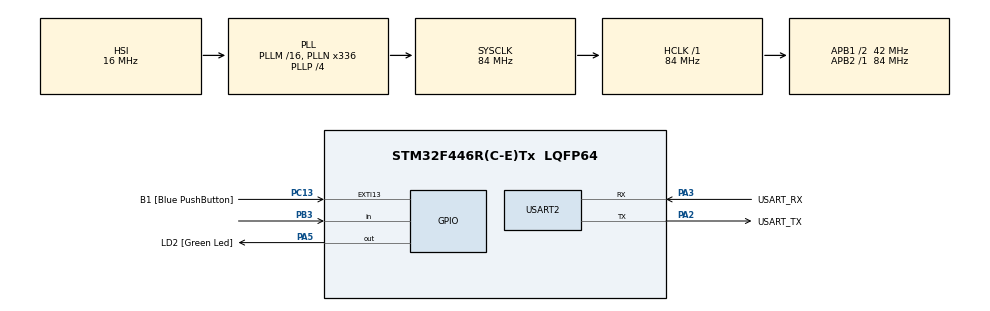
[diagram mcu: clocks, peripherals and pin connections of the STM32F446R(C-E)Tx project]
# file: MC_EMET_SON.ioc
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Mcu.Family=STM32F4
Mcu.Name=STM32F446R(C-E)Tx
Mcu.Package=LQFP64
NVIC.PriorityGroup=NVIC_PRIORITYGROUP_0
PA13.GPIO_Label=TMS
PA13.Signal=SYS_JTMS-SWDIO
PA14.GPIO_Label=TCK
PA14.Signal=SYS_JTCK-SWCLK
PA2.GPIO_Label=USART_TX
PA2.Mode=Asynchronous
PA2.Signal=USART2_TX
PA3.GPIO_Label=USART_RX
PA3.Mode=Asynchronous
PA3.Signal=USART2_RX
PA5.GPIO_Label=LD2 [Green Led]
PA5.Signal=GPIO_Output
PB3.Signal=GPIO_Input
PC13.GPIO_Label=B1 [Blue PushButton]
PC13.GPIO_ModeDefaultEXTI=GPIO_MODE_IT_FALLING
PC13.Signal=GPXTI13
PC14-OSC32_IN.Signal=RCC_OSC32_IN
PC15-OSC32_OUT.Signal=RCC_OSC32_OUT
PH0-OSC_IN.Signal=RCC_OSC_IN
PH1-OSC_OUT.Signal=RCC_OSC_OUT
ProjectManager.HeapSize=0x200
ProjectManager.StackSize=0x400
ProjectManager.TargetToolchain=STM32CubeIDE
RCC.AHBFreq_Value=84000000
RCC.APB1CLKDivider=RCC_HCLK_DIV2
RCC.APB1Freq_Value=42000000
RCC.APB1TimFreq_Value=84000000
RCC.APB2Freq_Value=84000000
RCC.APB2TimFreq_Value=84000000
RCC.CortexFreq_Value=84000000
RCC.FLatency-AdvancedSettings=FLASH_LATENCY_2
RCC.HCLKFreq_Value=84000000
RCC.HSE_VALUE=8000000
RCC.HSI_VALUE=16000000
RCC.LSE_VALUE=32768
RCC.PLLN=336
RCC.PLLP=RCC_PLLP_DIV4
RCC.SYSCLKFreq_VALUE=84000000
RCC.SYSCLKSource=RCC_SYSCLKSOURCE_PLLCLK
RCC.USBFreq_Value=168000000
RCC.VCOOutputFreq_Value=336000000
USART2.VirtualMode=VM_ASYNC
board=NUCLEO-F446RE

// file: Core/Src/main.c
/* USER CODE BEGIN Header */
/**
  ******************************************************************************
  * @file           : main.c
  * @brief          : Main program body
  ******************************************************************************
  */
/* USER CODE END Header */

#include "main.h"

/* USER CODE BEGIN Includes */
#include <string.h>
#include <ctype.h>
/* USER CODE END Includes */

UART_HandleTypeDef huart2;

/* USER CODE BEGIN PV */

char tabAlphabet[36] = {
    'a','b','c','d','e','f','g','h','i','j',
    'k','l','m','n','o','p','q','r','s','t',
    'u','v','w','x','y','z','0','1','2','3',
    '4','5','6','7','8','9'
};

const char *codeMorse[36] = {
    "01", "1000", "1010", "100", "0", "0010", "110", "0000", "00", "0111",
    "101", "0100", "11", "10", "111", "0110", "1101", "010", "000", "1",
    "001", "0001", "011", "1001", "1011", "1100", "11111", "01111", "00111",
    "00011", "00001", "00000", "10000", "11000", "11100", "11110"
};

#define UNIT 200

/* USER CODE END PV */

void SystemClock_Config(void);
static void MX_GPIO_Init(void);
static void MX_USART2_UART_Init(void);

/* USER CODE BEGIN PFP */
int recherche_morse(char a);
void UART_SendString(char *str);
void buzzer_on(void);
void buzzer_off(void);
void emettre_symbole(char symbole);
void emettre_lettre(char lettre);
/* USER CODE END PFP */

int main(void)
{
  HAL_Init();
  SystemClock_Config();
  MX_GPIO_Init();
  MX_USART2_UART_Init();

  /* USER CODE BEGIN 2 */
  char c;
  UART_SendString("Tape un texte dans PuTTY :\r\n");
  /* USER CODE END 2 */

  while (1)
  {
    /* USER CODE BEGIN 3 */

    HAL_UART_Receive(&huart2, (uint8_t*)&c, 1, HAL_MAX_DELAY);
    HAL_UART_Transmit(&huart2, (uint8_t*)&c, 1, HAL_MAX_DELAY);

    if (c == '\r' || c == '\n') {
        UART_SendString("\r\n");
        HAL_Delay(7 * UNIT);
        continue;
    }

    if (c == ' ') {
        HAL_Delay(7 * UNIT);
        continue;
    }

    c = (char)tolower((unsigned char)c);
    emettre_lettre(c);

    /* USER CODE END 3 */
  }
}

/* USER CODE BEGIN 4 */

int recherche_morse(char a)
{
    for (int i = 0; i < 36; i++) {
        if (tabAlphabet[i] == a) {
            return i;
        }
    }
    return -1;
}

void UART_SendString(char *str)
{
    HAL_UART_Transmit(&huart2, (uint8_t*)str, strlen(str), HAL_MAX_DELAY);
}

void buzzer_on(void)
{
    HAL_GPIO_WritePin(GPIOB, GPIO_PIN_3, GPIO_PIN_SET);
}

void buzzer_off(void)
{
    HAL_GPIO_WritePin(GPIOB, GPIO_PIN_3, GPIO_PIN_RESET);
}

void emettre_symbole(char symbole)
{
    buzzer_on();

    if (symbole == '0') HAL_Delay(UNIT);
    else HAL_Delay(3 * UNIT);

    buzzer_off();
    HAL_Delay(UNIT);
}

void emettre_lettre(char lettre)
{
    int index = recherche_morse(lettre);
    if (index == -1) return;

    const char *code = codeMorse[index];

    for (int i = 0; code[i] != '\0'; i++) {
        emettre_symbole(code[i]);
    }

    HAL_Delay(2 * UNIT);
}

/* USER CODE END 4 */

void SystemClock_Config(void)
{
  RCC_OscInitTypeDef RCC_OscInitStruct = {0};
  RCC_ClkInitTypeDef RCC_ClkInitStruct = {0};

  __HAL_RCC_PWR_CLK_ENABLE();
  __HAL_PWR_VOLTAGESCALING_CONFIG(PWR_REGULATOR_VOLTAGE_SCALE3);

  RCC_OscInitStruct.OscillatorType = RCC_OSCILLATORTYPE_HSI;
  RCC_OscInitStruct.HSIState = RCC_HSI_ON;
  RCC_OscInitStruct.HSICalibrationValue = RCC_HSICALIBRATION_DEFAULT;
  RCC_OscInitStruct.PLL.PLLState = RCC_PLL_ON;
  RCC_OscInitStruct.PLL.PLLSource = RCC_PLLSOURCE_HSI;
  RCC_OscInitStruct.PLL.PLLM = 16;
  RCC_OscInitStruct.PLL.PLLN = 336;
  RCC_OscInitStruct.PLL.PLLP = RCC_PLLP_DIV4;
  RCC_OscInitStruct.PLL.PLLQ = 2;
  RCC_OscInitStruct.PLL.PLLR = 2;

  HAL_RCC_OscConfig(&RCC_OscInitStruct);

  RCC_ClkInitStruct.ClockType = RCC_CLOCKTYPE_HCLK|RCC_CLOCKTYPE_SYSCLK
                              |RCC_CLOCKTYPE_PCLK1|RCC_CLOCKTYPE_PCLK2;

  RCC_ClkInitStruct.SYSCLKSource = RCC_SYSCLKSOURCE_PLLCLK;
  RCC_ClkInitStruct.AHBCLKDivider = RCC_SYSCLK_DIV1;
  RCC_ClkInitStruct.APB1CLKDivider = RCC_HCLK_DIV2;
  RCC_ClkInitStruct.APB2CLKDivider = RCC_HCLK_DIV1;

  HAL_RCC_ClockConfig(&RCC_ClkInitStruct, FLASH_LATENCY_2);
}

/**
  * @brief USART2 Initialization
  */
static void MX_USART2_UART_Init(void)
{
  huart2.Instance = USART2;
  huart2.Init.BaudRate = 115200;
  huart2.Init.WordLength = UART_WORDLENGTH_8B;
  huart2.Init.StopBits = UART_STOPBITS_1;
  huart2.Init.Parity = UART_PARITY_NONE;
  huart2.Init.Mode = UART_MODE_TX_RX;
  huart2.Init.HwFlowCtl = UART_HWCONTROL_NONE;
  huart2.Init.OverSampling = UART_OVERSAMPLING_16;

  HAL_UART_Init(&huart2);
}

/**
  * @brief GPIO Initialization
  */
static void MX_GPIO_Init(void)
{
  GPIO_InitTypeDef GPIO_InitStruct = {0};

  __HAL_RCC_GPIOC_CLK_ENABLE();
  __HAL_RCC_GPIOH_CLK_ENABLE();
  __HAL_RCC_GPIOA_CLK_ENABLE();
  __HAL_RCC_GPIOB_CLK_ENABLE();

  HAL_GPIO_WritePin(LD2_GPIO_Port, LD2_Pin, GPIO_PIN_RESET);
  HAL_GPIO_WritePin(GPIOB, GPIO_PIN_3, GPIO_PIN_RESET);

  GPIO_InitStruct.Pin = LD2_Pin;
  GPIO_InitStruct.Mode = GPIO_MODE_OUTPUT_PP;
  GPIO_InitStruct.Pull = GPIO_NOPULL;
  GPIO_InitStruct.Speed = GPIO_SPEED_FREQ_LOW;
  HAL_GPIO_Init(LD2_GPIO_Port, &GPIO_InitStruct);

  GPIO_InitStruct.Pin = GPIO_PIN_3;
  GPIO_InitStruct.Mode = GPIO_MODE_OUTPUT_PP;
  GPIO_InitStruct.Pull = GPIO_NOPULL;
  GPIO_InitStruct.Speed = GPIO_SPEED_FREQ_LOW;
  HAL_GPIO_Init(GPIOB, &GPIO_InitStruct);
}

void Error_Handler(void)
{
  __disable_irq();
  while (1) {}
}
